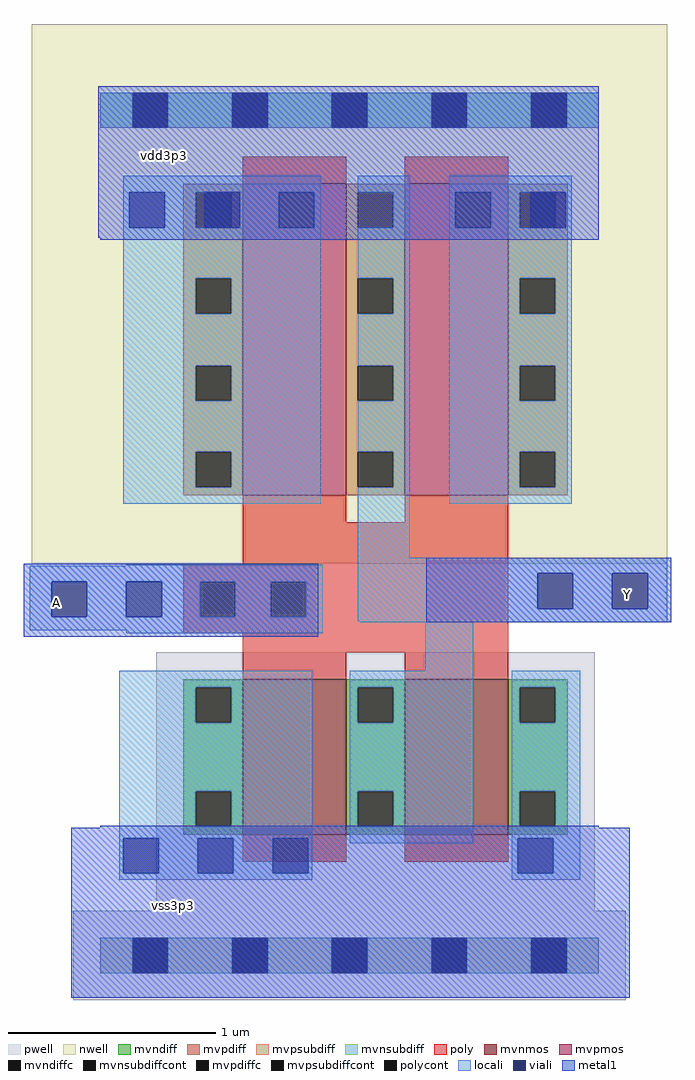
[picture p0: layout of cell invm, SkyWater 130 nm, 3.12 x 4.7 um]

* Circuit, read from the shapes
.subckt invm vdd3p3 vss3p3 Y A
XM1 Y A vss3p3 vss3p3 sky130_fd_pr__nfet_g5v0d10v5 w=0.75 l=0.5 m=2
XM2 Y A vdd3p3 vdd3p3 sky130_fd_pr__pfet_g5v0d10v5 w=1.5 l=0.5 m=2
.ends

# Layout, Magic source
magic
tech sky130A
magscale 1 2
<< locali >>
rect 2170 711 2326 726
rect 2170 677 2191 711
rect 2225 677 2263 711
rect 2297 677 2326 711
rect 2170 664 2326 677
rect 2488 719 2784 734
rect 2488 685 2659 719
rect 2693 685 2731 719
rect 2765 685 2784 719
rect 2488 672 2784 685
<< viali >>
rect 2191 677 2225 711
rect 2263 677 2297 711
rect 2659 685 2693 719
rect 2731 685 2765 719
<< metal1 >>
rect 2236 1042 2718 1188
rect 2164 711 2448 728
rect 2164 677 2191 711
rect 2225 677 2263 711
rect 2297 677 2448 711
rect 2164 658 2448 677
rect 2552 719 2788 734
rect 2552 685 2659 719
rect 2693 685 2731 719
rect 2765 685 2788 719
rect 2552 672 2788 685
rect 2210 310 2748 474
use sky130_fd_sc_hvl__inv_2  sky130_fd_sc_hvl__inv_2_0
transform 1 0 2238 0 1 351
box -66 -43 546 897
<< labels >>
flabel metal1 s 2286 1114 2314 1128 0 FreeSans 25 0 0 0 vdd3p3
port 1 nsew
flabel metal1 s 2294 392 2322 406 0 FreeSans 25 0 0 0 vss3p3
port 2 nsew
flabel metal1 s 2742 694 2750 704 0 FreeSans 25 0 0 0 Y
port 3 nsew
flabel metal1 s 2192 686 2200 696 0 FreeSans 25 0 0 0 A
port 4 nsew
<< end >>

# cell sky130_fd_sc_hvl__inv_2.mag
magic
tech sky130A
magscale 1 2
<< nwell >>
rect -66 377 546 897
<< pwell >>
rect 54 43 476 292
rect -26 -43 506 43
<< mvnmos >>
rect 137 116 237 266
rect 293 116 393 266
<< mvpmos >>
rect 137 443 237 743
rect 293 443 393 743
<< mvndiff >>
rect 80 258 137 266
rect 80 224 92 258
rect 126 224 137 258
rect 80 158 137 224
rect 80 124 92 158
rect 126 124 137 158
rect 80 116 137 124
rect 237 258 293 266
rect 237 224 248 258
rect 282 224 293 258
rect 237 158 293 224
rect 237 124 248 158
rect 282 124 293 158
rect 237 116 293 124
rect 393 258 450 266
rect 393 224 404 258
rect 438 224 450 258
rect 393 158 450 224
rect 393 124 404 158
rect 438 124 450 158
rect 393 116 450 124
<< mvpdiff >>
rect 80 735 137 743
rect 80 701 92 735
rect 126 701 137 735
rect 80 652 137 701
rect 80 618 92 652
rect 126 618 137 652
rect 80 568 137 618
rect 80 534 92 568
rect 126 534 137 568
rect 80 485 137 534
rect 80 451 92 485
rect 126 451 137 485
rect 80 443 137 451
rect 237 735 293 743
rect 237 701 248 735
rect 282 701 293 735
rect 237 652 293 701
rect 237 618 248 652
rect 282 618 293 652
rect 237 568 293 618
rect 237 534 248 568
rect 282 534 293 568
rect 237 485 293 534
rect 237 451 248 485
rect 282 451 293 485
rect 237 443 293 451
rect 393 735 450 743
rect 393 701 404 735
rect 438 701 450 735
rect 393 652 450 701
rect 393 618 404 652
rect 438 618 450 652
rect 393 568 450 618
rect 393 534 404 568
rect 438 534 450 568
rect 393 485 450 534
rect 393 451 404 485
rect 438 451 450 485
rect 393 443 450 451
<< mvndiffc >>
rect 92 224 126 258
rect 92 124 126 158
rect 248 224 282 258
rect 248 124 282 158
rect 404 224 438 258
rect 404 124 438 158
<< mvpdiffc >>
rect 92 701 126 735
rect 92 618 126 652
rect 92 534 126 568
rect 92 451 126 485
rect 248 701 282 735
rect 248 618 282 652
rect 248 534 282 568
rect 248 451 282 485
rect 404 701 438 735
rect 404 618 438 652
rect 404 534 438 568
rect 404 451 438 485
<< mvpsubdiff >>
rect 0 -17 31 17
rect 65 -17 127 17
rect 161 -17 223 17
rect 257 -17 319 17
rect 353 -17 415 17
rect 449 -17 480 17
<< mvnsubdiff >>
rect 0 797 31 831
rect 65 797 127 831
rect 161 797 223 831
rect 257 797 319 831
rect 353 797 415 831
rect 449 797 480 831
<< mvpsubdiffcont >>
rect 31 -17 65 17
rect 127 -17 161 17
rect 223 -17 257 17
rect 319 -17 353 17
rect 415 -17 449 17
<< mvnsubdiffcont >>
rect 31 797 65 831
rect 127 797 161 831
rect 223 797 257 831
rect 319 797 353 831
rect 415 797 449 831
<< poly >>
rect 137 743 237 769
rect 293 743 393 769
rect 137 417 237 443
rect 293 417 393 443
rect 137 376 393 417
rect 80 360 393 376
rect 80 326 96 360
rect 130 326 164 360
rect 198 326 393 360
rect 80 310 393 326
rect 137 292 393 310
rect 137 266 237 292
rect 293 266 393 292
rect 137 90 237 116
rect 293 90 393 116
<< polycont >>
rect 96 326 130 360
rect 164 326 198 360
<< locali >>
rect 0 797 31 831
rect 65 797 127 831
rect 161 797 223 831
rect 257 797 319 831
rect 353 797 415 831
rect 449 797 480 831
rect 22 735 212 751
rect 22 701 28 735
rect 62 701 92 735
rect 134 701 172 735
rect 206 701 212 735
rect 22 652 212 701
rect 22 618 92 652
rect 126 618 212 652
rect 22 568 212 618
rect 22 534 92 568
rect 126 534 212 568
rect 22 485 212 534
rect 22 451 92 485
rect 126 451 212 485
rect 22 435 212 451
rect 248 735 298 751
rect 282 701 298 735
rect 248 652 298 701
rect 282 618 298 652
rect 248 568 298 618
rect 282 534 298 568
rect 248 485 298 534
rect 282 451 298 485
rect 25 360 214 376
rect 25 326 96 360
rect 130 326 164 360
rect 198 326 214 360
rect 25 310 214 326
rect 248 356 298 451
rect 336 735 454 751
rect 336 701 342 735
rect 376 701 404 735
rect 448 701 454 735
rect 336 652 454 701
rect 336 618 404 652
rect 438 618 454 652
rect 336 568 454 618
rect 336 534 404 568
rect 438 534 454 568
rect 336 485 454 534
rect 336 451 404 485
rect 438 451 454 485
rect 336 435 454 451
rect 248 322 359 356
rect 313 274 359 322
rect 18 258 204 274
rect 18 224 92 258
rect 126 224 204 258
rect 18 158 204 224
rect 18 124 92 158
rect 126 124 204 158
rect 18 113 204 124
rect 18 79 22 113
rect 56 79 94 113
rect 128 79 166 113
rect 200 79 204 113
rect 240 258 359 274
rect 240 224 248 258
rect 282 224 359 258
rect 240 158 359 224
rect 240 124 248 158
rect 282 124 359 158
rect 240 108 359 124
rect 396 258 462 274
rect 396 224 404 258
rect 438 224 462 258
rect 396 158 462 224
rect 396 124 404 158
rect 438 124 462 158
rect 396 113 462 124
rect 18 73 204 79
rect 396 79 402 113
rect 436 79 462 113
rect 396 73 462 79
rect 0 -17 31 17
rect 65 -17 127 17
rect 161 -17 223 17
rect 257 -17 319 17
rect 353 -17 415 17
rect 449 -17 480 17
<< viali >>
rect 31 797 65 831
rect 127 797 161 831
rect 223 797 257 831
rect 319 797 353 831
rect 415 797 449 831
rect 28 701 62 735
rect 100 701 126 735
rect 126 701 134 735
rect 172 701 206 735
rect 342 701 376 735
rect 414 701 438 735
rect 438 701 448 735
rect 22 79 56 113
rect 94 79 128 113
rect 166 79 200 113
rect 402 79 436 113
rect 31 -17 65 17
rect 127 -17 161 17
rect 223 -17 257 17
rect 319 -17 353 17
rect 415 -17 449 17
<< metal1 >>
rect 0 831 480 837
rect 0 797 31 831
rect 65 797 127 831
rect 161 797 223 831
rect 257 797 319 831
rect 353 797 415 831
rect 449 797 480 831
rect 0 791 480 797
rect 0 735 480 763
rect 0 701 28 735
rect 62 701 100 735
rect 134 701 172 735
rect 206 701 342 735
rect 376 701 414 735
rect 448 701 480 735
rect 0 689 480 701
rect 0 113 480 125
rect 0 79 22 113
rect 56 79 94 113
rect 128 79 166 113
rect 200 79 402 113
rect 436 79 480 113
rect 0 51 480 79
rect 0 17 480 23
rect 0 -17 31 17
rect 65 -17 127 17
rect 161 -17 223 17
rect 257 -17 319 17
rect 353 -17 415 17
rect 449 -17 480 17
rect 0 -23 480 -17
<< labels >>
flabel metal1 s 0 51 480 125 0 FreeSans 31 0 0 0 VGND
port 1 nsew
flabel metal1 s 0 0 480 23 0 FreeSans 31 0 0 0 VNB
port 2 nsew
flabel metal1 s 0 689 480 763 0 FreeSans 31 0 0 0 VPWR
port 3 nsew
flabel metal1 s 0 791 480 814 0 FreeSans 31 0 0 0 VPB
port 4 nsew
flabel locali s 31 316 65 350 0 FreeSans 31 0 0 0 A
port 5 nsew
flabel locali s 127 316 161 350 0 FreeSans 31 0 0 0 A
port 5 nsew
flabel locali s 319 168 353 202 0 FreeSans 31 0 0 0 Y
port 6 nsew
flabel locali s 319 242 353 276 0 FreeSans 31 0 0 0 Y
port 6 nsew
flabel locali s 319 316 353 350 0 FreeSans 31 0 0 0 Y
port 6 nsew
<< properties >>
string FIXED_BBOX 0 0 480 814
<< end >>
